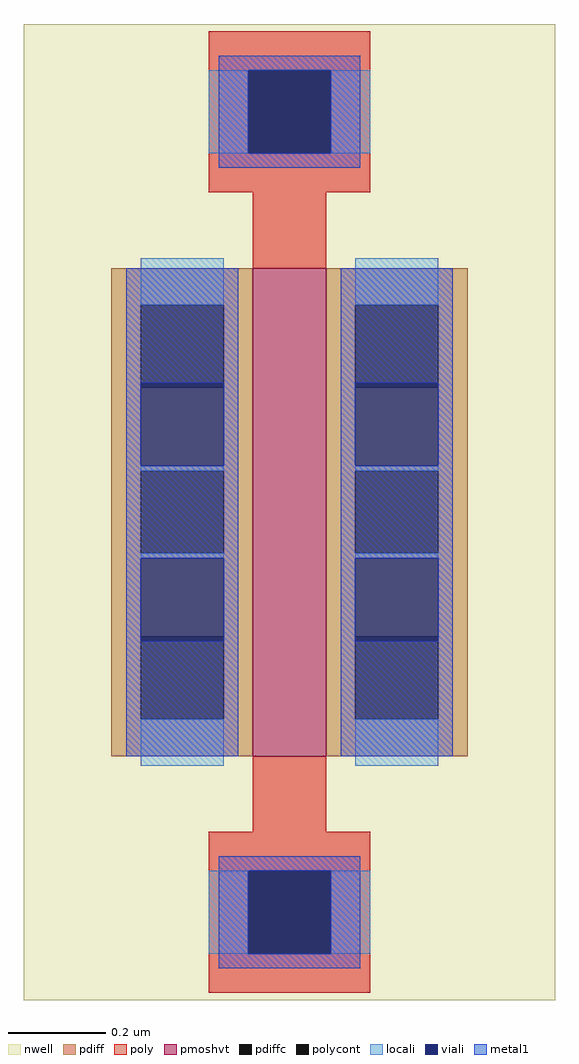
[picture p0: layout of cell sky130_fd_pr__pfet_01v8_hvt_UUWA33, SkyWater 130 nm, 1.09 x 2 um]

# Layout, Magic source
magic
tech sky130A
magscale 1 2
<< nwell >>
rect -109 -200 109 200
<< pmoshvt >>
rect -15 -100 15 100
<< pdiff >>
rect -73 85 -15 100
rect -73 51 -61 85
rect -27 51 -15 85
rect -73 17 -15 51
rect -73 -17 -61 17
rect -27 -17 -15 17
rect -73 -51 -15 -17
rect -73 -85 -61 -51
rect -27 -85 -15 -51
rect -73 -100 -15 -85
rect 15 85 73 100
rect 15 51 27 85
rect 61 51 73 85
rect 15 17 73 51
rect 15 -17 27 17
rect 61 -17 73 17
rect 15 -51 73 -17
rect 15 -85 27 -51
rect 61 -85 73 -51
rect 15 -100 73 -85
<< pdiffc >>
rect -61 51 -27 85
rect -61 -17 -27 17
rect -61 -85 -27 -51
rect 27 51 61 85
rect 27 -17 61 17
rect 27 -85 61 -51
<< poly >>
rect -33 181 33 197
rect -33 147 -17 181
rect 17 147 33 181
rect -33 131 33 147
rect -15 100 15 131
rect -15 -131 15 -100
rect -33 -147 33 -131
rect -33 -181 -17 -147
rect 17 -181 33 -147
rect -33 -197 33 -181
<< polycont >>
rect -17 147 17 181
rect -17 -181 17 -147
<< locali >>
rect -33 147 -17 181
rect 17 147 33 181
rect -61 85 -27 104
rect -61 17 -27 19
rect -61 -19 -27 -17
rect -61 -104 -27 -85
rect 27 85 61 104
rect 27 17 61 19
rect 27 -19 61 -17
rect 27 -104 61 -85
rect -33 -181 -17 -147
rect 17 -181 33 -147
<< viali >>
rect -17 147 17 181
rect -61 51 -27 53
rect -61 19 -27 51
rect -61 -51 -27 -19
rect -61 -53 -27 -51
rect 27 51 61 53
rect 27 19 61 51
rect 27 -51 61 -19
rect 27 -53 61 -51
rect -17 -181 17 -147
<< metal1 >>
rect -29 181 29 187
rect -29 147 -17 181
rect 17 147 29 181
rect -29 141 29 147
rect -67 53 -21 100
rect -67 19 -61 53
rect -27 19 -21 53
rect -67 -19 -21 19
rect -67 -53 -61 -19
rect -27 -53 -21 -19
rect -67 -100 -21 -53
rect 21 53 67 100
rect 21 19 27 53
rect 61 19 67 53
rect 21 -19 67 19
rect 21 -53 27 -19
rect 61 -53 67 -19
rect 21 -100 67 -53
rect -29 -147 29 -141
rect -29 -181 -17 -147
rect 17 -181 29 -147
rect -29 -187 29 -181
<< properties >>
string GDS_END 9920366
string GDS_FILE /scratch/users/lsammaro/OpenPUF/mag/design_merged.gds
string GDS_START 9914410
<< end >>
